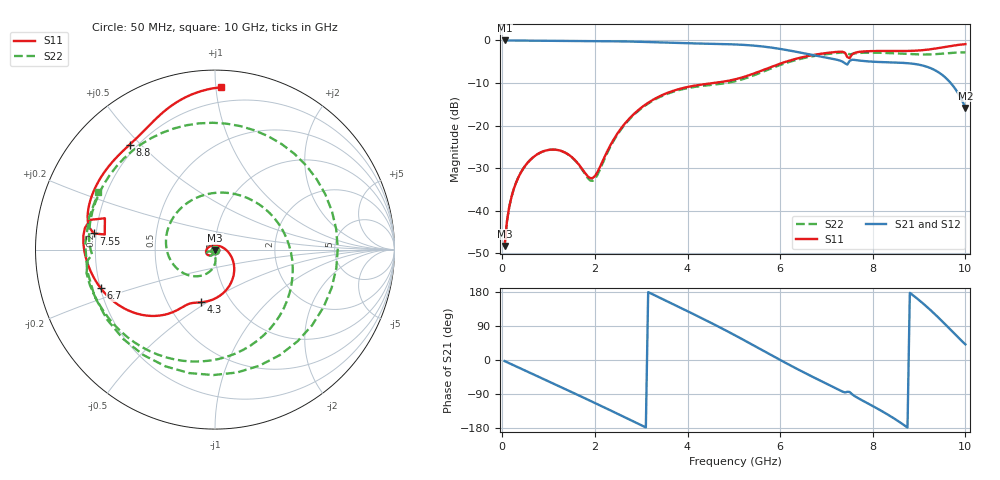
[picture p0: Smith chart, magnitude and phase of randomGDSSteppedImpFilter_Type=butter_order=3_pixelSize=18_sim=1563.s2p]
! freq	dB(S11)	phase(S11)	dB(S12)	phase(S12)
!  dB(S21)	phase(S21)	dB(S22)	phase(S22)
!S-par simulation data
#  GHz  S  DB  R 50
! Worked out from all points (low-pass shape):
!   200 points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, 50 MHz to 10 GHz, reference 50 ohm
!   highest |S21| = -0.01 dB at 50 MHz (marker M1); lowest = -15.8 dB at 10 GHz (marker M2)
!   |S21| within 3 dB of the highest: start of sweep to 6.509 GHz
!   lowest |S11| = -48.2 dB at 50 MHz (marker M3), VSWR 1.01, Z = 50 - j0.388 ohm
!   |S11| at or under -10 dB: start of sweep to 4.56 GHz
!   |S22| runs from -48.3 to -2.8 dB; largest |S21 - S12| = 0
!   S11 on the Smith chart (normalised r, x): 50 MHz: 1.00, -0.01; 4.3 GHz: 0.73, -0.47; 6.7 GHz: 0.20, -0.16; 7.55 GHz: 0.19, +0.06; 8.8 GHz: 0.17, +0.46; 10 GHz: 0.10, +1.03
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0.05  -48.22 -87.4  -0.01 -2.9  -0.01 -2.9  -48.30 -86.3
0.25  -34.80 -103.8  -0.02 -14.2  -0.02 -14.2  -34.80 -103.0
0.6  -28.09 -125.7  -0.05 -33.9  -0.05 -33.9  -28.09 -123.1
1.2  -25.73 -164.9  -0.09 -67.8  -0.09 -67.8  -25.74 -153.2
1.75  -30.56 135.2  -0.12 -99.0  -0.12 -99.0  -30.77 -157.9
2  -31.85 65.5  -0.13 -113.4  -0.13 -113.4  -32.54 -114.9
2.65  -19.48 -26.7  -0.23 -151.4  -0.23 -151.4  -19.69 -96.6
3.4  -13.10 -70.0  -0.47 164.4  -0.47 164.4  -13.30 -141.7
4.3  -10.37 -104.5  -0.74 110.8  -0.74 110.8  -10.70 145.9
5.05  -9.07 -117.9  -0.95 63.6  -0.95 63.6  -9.52 64.0
5.85  -6.04 -132.2  -1.74 10.1  -1.74 10.1  -6.38 -29.7
6.3  -4.43 -146.6  -2.57 -19.4  -2.57 -19.4  -4.72 -74.5
6.7  -3.45 -161.4  -3.41 -44.4  -3.41 -44.4  -3.72 -110.0
7.4  -2.90 166.6  -5.37 -85.7  -5.37 -85.7  -2.76 -169.6
7.55  -3.33 172.4  -4.53 -90.0  -4.53 -90.0  -3.17 179.7
7.95  -2.51 155.8  -4.96 -118.3  -4.96 -118.3  -2.87 144.6
8.35  -2.47 142.4  -5.14 -146.0  -5.14 -146.0  -2.97 102.9
8.8  -2.45 129.1  -5.39 177.2  -5.39 177.2  -3.21 42.7
9.15  -2.21 119.6  -6.11 142.4  -6.11 142.4  -3.30 -18.2
9.5  -1.63 108.7  -8.10 102.0  -8.10 102.0  -3.11 -90.7
9.8  -1.11 96.8  -11.67 64.9  -11.67 64.9  -2.86 -158.8
10  -0.87 87.9  -15.83 41.3  -15.83 41.3  -2.80 153.8
